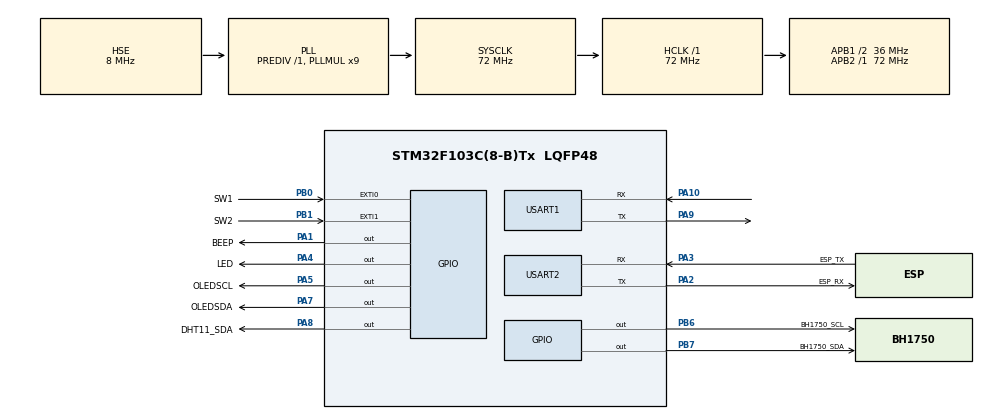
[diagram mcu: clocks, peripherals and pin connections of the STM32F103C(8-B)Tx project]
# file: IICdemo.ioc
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Mcu.Family=STM32F1
Mcu.Name=STM32F103C(8-B)Tx
Mcu.Package=LQFP48
NVIC.EXTI0_IRQn=true\:2\:0\:true\:false\:true\:true\:true\:true
NVIC.EXTI1_IRQn=true\:1\:0\:true\:false\:true\:true\:true\:true
NVIC.PriorityGroup=NVIC_PRIORITYGROUP_4
NVIC.USART2_IRQn=true\:0\:0\:false\:false\:true\:true\:true\:true
PA1.GPIO_Label=BEEP
PA1.Signal=GPIO_Output
PA10.Mode=Asynchronous
PA10.Signal=USART1_RX
PA13.Mode=Serial_Wire
PA13.Signal=SYS_JTMS-SWDIO
PA14.Mode=Serial_Wire
PA14.Signal=SYS_JTCK-SWCLK
PA2.GPIO_Label=ESP_RX
PA2.Mode=Asynchronous
PA2.Signal=USART2_TX
PA3.GPIO_Label=ESP_TX
PA3.Mode=Asynchronous
PA3.Signal=USART2_RX
PA4.GPIO_Label=LED
PA4.Signal=GPIO_Output
PA5.GPIO_Label=OLEDSCL
PA5.Signal=GPIO_Output
PA7.GPIO_Label=OLEDSDA
PA7.Signal=GPIO_Output
PA8.GPIO_Label=DHT11_SDA
PA8.GPIO_ModeDefaultOutputPP=GPIO_MODE_OUTPUT_OD
PA8.GPIO_PuPd=GPIO_PULLUP
PA8.GPIO_Speed=GPIO_SPEED_FREQ_HIGH
PA8.Signal=GPIO_Output
PA9.Mode=Asynchronous
PA9.Signal=USART1_TX
PB0.GPIO_Label=SW1
PB0.GPIO_PuPd=GPIO_PULLUP
PB0.Signal=GPXTI0
PB1.GPIO_Label=SW2
PB1.GPIO_PuPd=GPIO_PULLUP
PB1.Signal=GPXTI1
PB6.GPIO_Label=BH1750_SCL
PB6.GPIO_ModeDefaultOutputPP=GPIO_MODE_OUTPUT_OD
PB6.GPIO_PuPd=GPIO_PULLUP
PB6.GPIO_Speed=GPIO_SPEED_FREQ_MEDIUM
PB6.PinState=GPIO_PIN_SET
PB6.Signal=GPIO_Output
PB7.GPIO_Label=BH1750_SDA
PB7.GPIO_ModeDefaultOutputPP=GPIO_MODE_OUTPUT_OD
PB7.GPIO_PuPd=GPIO_PULLUP
PB7.GPIO_Speed=GPIO_SPEED_FREQ_MEDIUM
PB7.PinState=GPIO_PIN_SET
PB7.Signal=GPIO_Output
PC14-OSC32_IN.Mode=LSE-External-Oscillator
PC14-OSC32_IN.Signal=RCC_OSC32_IN
PC15-OSC32_OUT.Mode=LSE-External-Oscillator
PC15-OSC32_OUT.Signal=RCC_OSC32_OUT
PD0-OSC_IN.Mode=HSE-External-Oscillator
PD0-OSC_IN.Signal=RCC_OSC_IN
PD1-OSC_OUT.Mode=HSE-External-Oscillator
PD1-OSC_OUT.Signal=RCC_OSC_OUT
ProjectManager.HeapSize=0x200
ProjectManager.StackSize=0x400
ProjectManager.TargetToolchain=MDK-ARM V5
RCC.AHBFreq_Value=72000000
RCC.APB1CLKDivider=RCC_HCLK_DIV2
RCC.APB1Freq_Value=36000000
RCC.APB1TimFreq_Value=72000000
RCC.APB2Freq_Value=72000000
RCC.APB2TimFreq_Value=72000000
RCC.HCLKFreq_Value=72000000
RCC.PLLMUL=RCC_PLL_MUL9
RCC.PLLSourceVirtual=RCC_PLLSOURCE_HSE
RCC.RTCClockSelection=RCC_RTCCLKSOURCE_LSE
RCC.SYSCLKFreq_VALUE=72000000
RCC.SYSCLKSource=RCC_SYSCLKSOURCE_PLLCLK
RCC.USBFreq_Value=72000000
USART1.VirtualMode=VM_ASYNC
USART2.VirtualMode=VM_ASYNC
VP_RTC_No_RTC_Output.Mode=RTC_OUT_NO
VP_RTC_VS_RTC_Activate.Mode=RTC_Enabled
VP_RTC_VS_RTC_Calendar.Mode=RTC_Calendar
board=custom

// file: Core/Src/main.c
/* USER CODE BEGIN Header */
/**
  ******************************************************************************
  * @file           : main.c
  * @brief          : Main program body
  ******************************************************************************
  * @attention
  *
  * Copyright (c) 2024 STMicroelectronics.
  * All rights reserved.
  *
  * This software is licensed under terms that can be found in the LICENSE file
  * in the root directory of this software component.
  * If no LICENSE file comes with this software, it is provided AS-IS.
  *
  ******************************************************************************
  */
/* USER CODE END Header */
#include "main.h"
#include "rtc.h"
#include "usart.h"
#include "gpio.h"

/* USER CODE BEGIN Includes */
#include "stdio.h"
#include "string.h"
#include "stdlib.h"

//BH1750
#include "BH1750GY302_1.h"
//OLED
#include "oled.h"
//DHT11
#include "dht11.h"
//网络协议层
#include "onenet.h"
//网络设备
#include "esp8266.h"

/* USER CODE END Includes */

/* USER CODE BEGIN PTD */
#ifdef __GNUC__
#define PUTCHAR_PROTOTYPE int __io_putchar(int ch)
#else
#define PUTCHAR_PROTOTYPE int fputc(int ch, FILE *f)
#endif

PUTCHAR_PROTOTYPE
{
    //具体哪个串口可以更改huart1为其它串口
    HAL_UART_Transmit(&huart1, (uint8_t *)&ch, 1 , 0xffff);
    return ch;
}

/* USER CODE END PTD */

void SystemClock_Config(void);

/* USER CODE BEGIN 0 */
#define busytime 10

uint8_t rxBuf=0,txData[100],oled_Data[16],marks_LED,marks_BEEP,alarm_free=busytime;
uint8_t temperature=0,humidity=0;
uint8_t timeCount=0,timeCount_3=0;
float light=0;
/*
订阅devSubTopic: /YLdemosmart/sub
上行devPubTopic: /YLdemosmart/pub
*/
const char *topicsub[]={"/YLdemosmart/sub"};	//设备订阅的Topic(小程序发布命令的主题)
const char topicpub[]="/YLdemosmart/pub"; 		//设备发布的Topic(小程序订阅数据的主题)
unsigned char *dataPtr = NULL; 					//零指针

/* USER CODE END 0 */

int main(void)
{

  /* MCU Configuration--------------------------------------------------------*/

  /* Reset of all peripherals, Initializes the Flash interface and the Systick. */
  HAL_Init();

  /* USER CODE BEGIN Init */
	memset(txData,0,sizeof(txData)/sizeof(uint8_t));
	memset(oled_Data,0,sizeof(oled_Data)/sizeof(uint8_t));
  /* USER CODE END Init */

  /* Configure the system clock */
  SystemClock_Config();

  /* USER CODE BEGIN SysInit */
	HAL_Delay(100);
  /* USER CODE END SysInit */

  /* Initialize all configured peripherals */
  MX_GPIO_Init();
  MX_RTC_Init();
  MX_USART1_UART_Init();
  MX_USART2_UART_Init();
  /* USER CODE BEGIN 2 */
	HAL_UART_Receive_IT(&huart2,&rxBuf,1);//开启串口2的接受中断
  	while(dht11_init()); 				/* 初始化DHT11 */
	BH1750_Init();			//BH1750初始化
	ESP8266_Init();				//初始化ESP8266
	OLED_Init();			//OLED初始化
	OLED_ColorTurn(0);		//0正常显示，1 反色显示
	OLED_DisplayTurn(0);	//0正常显示 1 屏幕翻转显示

	printf("Hardware init OK\r\n");
	ESP8266_Clear();
	while(OneNet_DevLink())		//接入服务器
	HAL_Delay(500);
	//鸣叫提示接入成功
	BEEP_1;
	HAL_Delay(250);
	BEEP_0;
	LED_0;
	marks_LED=0;
	marks_BEEP=0;
	OneNet_Subscribe(topicsub, 1);
  /* USER CODE END 2 */

  /* Infinite loop */
  /* USER CODE BEGIN WHILE */
  while (1)
  {
		//1s
		if(timeCount==50)
		{
			Sending();
			clamp_values(&temperature,&humidity,&light,&marks_LED,&marks_BEEP);
			/*自带控制判定*/
			if(alarm_free!=busytime)
			{
				alarm_free++;//手动控制持续busytime
			}else{
				/*自动控制LED*/
				if(light<100)
				{
					LED_1;
					marks_LED=1;
				}else
				{
					LED_0;
					marks_LED=0;
				}
				/*自动控制BEEP*/
				if(humidity>70||temperature>35){
					BEEP_1;
					marks_BEEP=1;
				}else{
					BEEP_0;
					marks_BEEP=0;
				}
			}
			/*oled*/
			memset(oled_Data,0,16);
			sprintf((char*)oled_Data,"tem:%dc",temperature);
			OLED_ShowString(0,0,oled_Data,16,1);//8*16
			memset(oled_Data,0,16);
			sprintf((char*)oled_Data,"hum:%d%%",humidity);
			OLED_ShowString(0,16,oled_Data,16,1);//8*16
			memset(oled_Data,0,16);
			sprintf((char*)oled_Data,"light:%.1F lx",light);
			OLED_ShowString(0,32,oled_Data,16,1);//8*16
			OLED_Refresh();
			/*计时*/
			timeCount = 0;
			timeCount_3++;
		}
		//发送间隔3s
		if(timeCount_3 >= 3)
		{
			printf("OneNet_Publish\r\n");
			memset(txData,0,sizeof(txData)/sizeof(uint8_t));
			sprintf((char*)txData,"{\"Tem\":%d,\"Hum\":%d,\"Light\":%.1f,\"LED\":%d,\"BEEP\":%d}",temperature,humidity,light,marks_LED,marks_BEEP);
			OneNet_Publish(topicpub,(char *)txData);
			ESP8266_Clear();

			timeCount = 0;
			timeCount_3=0;
		}
		dataPtr = ESP8266_GetIPD(3);				//等待3*5ms or 5ms
		if(dataPtr != NULL)OneNet_RevPro(dataPtr);	//解析数据
		HAL_Delay(10);
		/*25ms*/
		timeCount++;
		if(timeCount>=250)timeCount=0;
		if(timeCount_3>=250)timeCount_3=0;

    /* USER CODE END WHILE */

  }
}

void SystemClock_Config(void)
{
  RCC_OscInitTypeDef RCC_OscInitStruct = {0};
  RCC_ClkInitTypeDef RCC_ClkInitStruct = {0};
  RCC_PeriphCLKInitTypeDef PeriphClkInit = {0};

  /** Initializes the RCC Oscillators according to the specified parameters
  * in the RCC_OscInitTypeDef structure.
  */
  RCC_OscInitStruct.OscillatorType = RCC_OSCILLATORTYPE_HSE|RCC_OSCILLATORTYPE_LSE;
  RCC_OscInitStruct.HSEState = RCC_HSE_ON;
  RCC_OscInitStruct.HSEPredivValue = RCC_HSE_PREDIV_DIV1;
  RCC_OscInitStruct.LSEState = RCC_LSE_ON;
  RCC_OscInitStruct.HSIState = RCC_HSI_ON;
  RCC_OscInitStruct.PLL.PLLState = RCC_PLL_ON;
  RCC_OscInitStruct.PLL.PLLSource = RCC_PLLSOURCE_HSE;
  RCC_OscInitStruct.PLL.PLLMUL = RCC_PLL_MUL9;
  if (HAL_RCC_OscConfig(&RCC_OscInitStruct) != HAL_OK)
  {
    Error_Handler();
  }

  /** Initializes the CPU, AHB and APB buses clocks
  */
  RCC_ClkInitStruct.ClockType = RCC_CLOCKTYPE_HCLK|RCC_CLOCKTYPE_SYSCLK
                              |RCC_CLOCKTYPE_PCLK1|RCC_CLOCKTYPE_PCLK2;
  RCC_ClkInitStruct.SYSCLKSource = RCC_SYSCLKSOURCE_PLLCLK;
  RCC_ClkInitStruct.AHBCLKDivider = RCC_SYSCLK_DIV1;
  RCC_ClkInitStruct.APB1CLKDivider = RCC_HCLK_DIV2;
  RCC_ClkInitStruct.APB2CLKDivider = RCC_HCLK_DIV1;

  if (HAL_RCC_ClockConfig(&RCC_ClkInitStruct, FLASH_LATENCY_2) != HAL_OK)
  {
    Error_Handler();
  }
  PeriphClkInit.PeriphClockSelection = RCC_PERIPHCLK_RTC;
  PeriphClkInit.RTCClockSelection = RCC_RTCCLKSOURCE_LSE;
  if (HAL_RCCEx_PeriphCLKConfig(&PeriphClkInit) != HAL_OK)
  {
    Error_Handler();
  }
}

/* USER CODE BEGIN 4 */

void Sending()
{
	/*读取一次温湿度光照度然后发送给uartdebug和oled*/
	light=Light_Intensity()/10.0;
	while(dht11_read_data(&temperature, &humidity));   /* 读取温湿度值 */
	/*uartdebug*/
	printf("tem:%d℃,hum:%d%%,lig:%.1flx\r\n",temperature,humidity,light);
}

void clamp_values(uint8_t *temperature, uint8_t *humidity, float *light, uint8_t *marks_LED, uint8_t *marks_BEEP)
{
    if (*temperature > UINT8_MAX) {
        *temperature = UINT8_MAX;
    }
    if (*humidity > UINT8_MAX) {
        *humidity = UINT8_MAX;
    }
    if (*light > INT8_MAX) {
        *light = INT8_MAX;
    }
    if (*marks_LED > UINT8_MAX) {
        *marks_LED = UINT8_MAX;
    }
    if (*marks_BEEP > UINT8_MAX) {
        *marks_BEEP = UINT8_MAX;
    }
}

uint8_t Json_getTarget(char *str,char* toBuf)
{
	char* target_start = strstr(str, "\"target\":\"");
	if (target_start == NULL) {
			//"未找到\"target\":"
			return 10;
	}
	target_start += strlen("\"target\":\"");
	char* target_end = strchr(target_start, '\"');
	if (target_end == NULL) {
			//"未找到'\"'"
			return 20;
	}
	char target[100];
	strncpy(target, target_start, target_end - target_start);
	target[target_end - target_start] = '\0';

	strcpy(toBuf,target);

	return 0;
}

uint8_t Json_getValue(char *str)
{
	char* value_start = strstr(str, "\"value\":");
	if (value_start == NULL) {
			//"未找到\"value\":"
			return 10;
	}
	int value;
	if (sscanf(value_start, "\"value\":%d", &value) != 1) {
			//"未找到值"
			return 20;
	}
	return value;
}

void HAL_GPIO_EXTI_Callback(uint16_t GPIO_Pin)
{
	if(GPIO_Pin==SW1_Pin){
		memset(txData,0,sizeof(txData)/sizeof(uint8_t));
		sprintf((char*)txData,"LED切换成功\r\n");
		HAL_UART_Transmit(&huart1,txData,strlen((char *)txData),1000);
		HAL_GPIO_TogglePin(LED_GPIO_Port,LED_Pin);
		marks_LED=!marks_LED;
		alarm_free=0;
	}
	if(GPIO_Pin==SW2_Pin){
		memset(txData,0,sizeof(txData)/sizeof(uint8_t));
		sprintf((char*)txData,"BEEP切换成功\r\n");
		HAL_UART_Transmit(&huart1,txData,strlen((char *)txData),1000);
		HAL_GPIO_TogglePin(BEEP_GPIO_Port,BEEP_Pin);
		marks_BEEP=!marks_BEEP;
		alarm_free=0;
	}
}

/* USER CODE END 4 */

void Error_Handler(void)
{
  __disable_irq();
  while (1)
  {
  }
}
